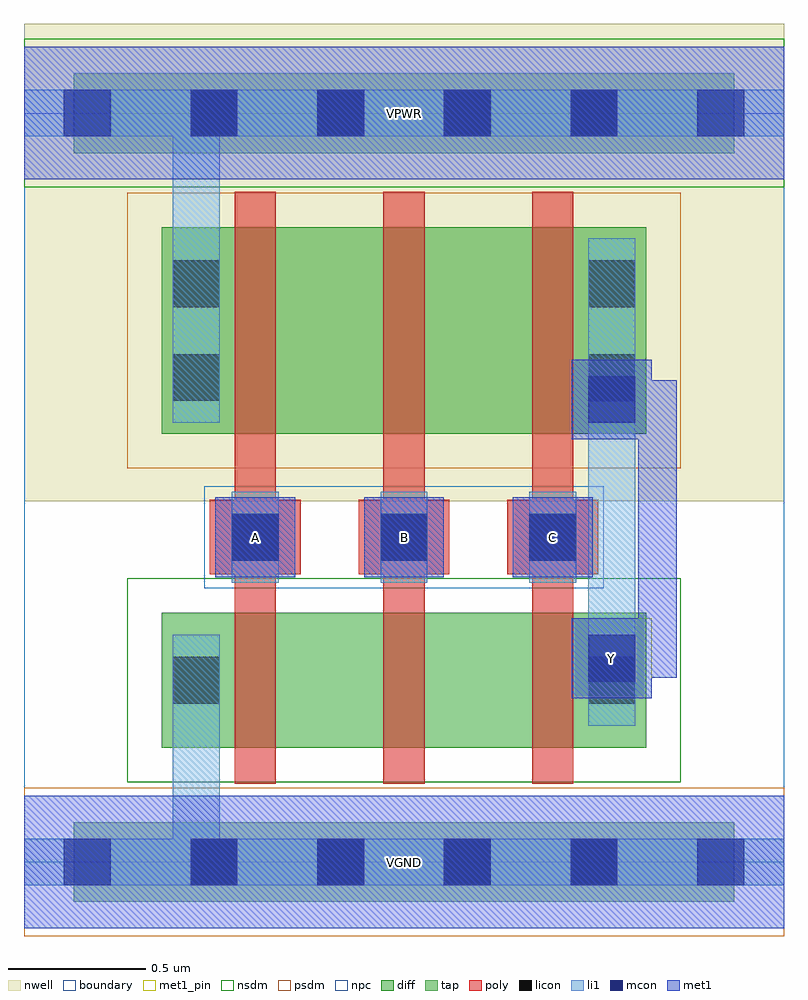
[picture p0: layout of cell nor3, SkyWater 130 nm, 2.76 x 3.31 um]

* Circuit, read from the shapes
.subckt nor3 A B C VGND VPWR Y
XM1 n1 A VGND VGND sky130_fd_pr__nfet_01v8 w=0.49 l=0.15
XM2 n2 B n1 VGND sky130_fd_pr__nfet_01v8 w=0.49 l=0.15
XM3 Y C n2 VGND sky130_fd_pr__nfet_01v8 w=0.49 l=0.15
XM4 n3 A VPWR VPWR sky130_fd_pr__pfet_01v8 w=0.75 l=0.15
XM5 n4 B n3 VPWR sky130_fd_pr__pfet_01v8 w=0.75 l=0.15
XM6 Y C n4 VPWR sky130_fd_pr__pfet_01v8 w=0.75 l=0.15
.ends

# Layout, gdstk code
import gdstk
lib = gdstk.Library(unit=1e-6, precision=1e-09)
def R(c, l, rs):  # rectangles x0, y0, x1, y1
    for r in rs: c.add(gdstk.rectangle(r[:2], r[2:], *l))
def A(c, l, x, y, w, h, nx, ny, dx, dy):  # array of equal rectangles
    R(c, l, [(x+i*dx, y+j*dy, x+i*dx+w, y+j*dy+h) for i in range(nx) for j in range(ny)])
nwell = (64, 20)
diff = (65, 20)
tap = (65, 44)
poly = (66, 20)
licon = (66, 44)
li1 = (67, 20)
mcon = (67, 44)
met1_pin = (68, 16)
met1 = (68, 20)
nsdm = (93, 44)
psdm = (94, 20)
npc = (95, 20)
boundary = (235, 4)

nor3 = lib.new_cell('nor3')
R(nor3, nwell, [(0,1.31,2.76,3.045)])
R(nor3, diff, [(0.5,0.415,2.26,0.905), (0.5,1.555,2.26,2.305)])
R(nor3, tap, [(0.18,-0.145,2.58,0.145), (0.18,2.575,2.58,2.865)])
A(nor3, poly, 0.765, 0.285, 0.15, 2.15, 3, 1, 0.54, 0)
A(nor3, poly, 0.675, 1.045, 0.33, 0.27, 3, 1, 0.54, 0)
A(nor3, licon, 0.605, -0.085, 0.17, 0.17, 4, 2, 0.46, 2.72)
A(nor3, licon, 0.755, 1.095, 0.17, 0.17, 3, 1, 0.54, 0)
R(nor3, licon, [(0.54,0.575,0.71,0.745), (2.05,0.575,2.22,0.745), (0.54,1.675,0.71,1.845), (2.05,1.675,2.22,1.845), (0.54,2.015,0.71,2.185), (2.05,2.015,2.22,2.185)])
A(nor3, li1, 0.755, 1.015, 0.17, 0.33, 3, 1, 0.54, 0)
R(nor3, li1, [(0,-0.085,2.76,0.085), (0.54,-0.085,0.71,0.825), (0.54,0.495,0.71,0.825), (2.05,0.495,2.22,0.825), (2.05,0.495,2.22,2.265), (0.54,1.595,0.71,2.265), (0.54,1.595,0.71,2.805), (2.05,1.595,2.22,2.265), (0,2.635,2.76,2.805)])
A(nor3, mcon, 0.145, -0.085, 0.17, 0.17, 6, 2, 0.46, 2.72)
A(nor3, mcon, 0.755, 1.095, 0.17, 0.17, 3, 1, 0.54, 0)
R(nor3, mcon, [(2.05,0.655,2.22,0.825), (2.05,1.595,2.22,1.765)])
A(nor3, met1_pin, 0.695, 1.035, 0.29, 0.29, 3, 1, 0.54, 0)
R(nor3, met1_pin, [(0,-0.24,2.76,0.24), (1.99,0.595,2.28,0.885), (0,2.48,2.76,2.96)])
A(nor3, met1, 0.695, 1.035, 0.29, 0.29, 3, 1, 0.54, 0)
R(nor3, met1, [(0,-0.24,2.76,0.24), (1.99,0.595,2.28,0.885), (2.065,0.67,2.37,0.81), (2.23,0.67,2.37,0.99), (2.23,0.85,2.37,1.565), (2.23,1.425,2.37,1.75), (1.99,1.535,2.28,1.825), (2.065,1.61,2.37,1.75), (0,2.48,2.76,2.96)])
R(nor3, nsdm, [(0.375,0.29,2.385,1.03), (0,2.45,2.76,2.99)])
R(nor3, psdm, [(0,-0.27,2.76,0.27), (0.375,1.43,2.385,2.43)])
R(nor3, npc, [(0.655,0.995,2.105,1.365)])
R(nor3, boundary, [(0,0,2.76,2.72)])
nor3.add(gdstk.Label('A', (0.84,1.18), layer=68, texttype=5))
nor3.add(gdstk.Label('B', (1.38,1.18), layer=68, texttype=5))
nor3.add(gdstk.Label('C', (1.92,1.18), layer=68, texttype=5))
nor3.add(gdstk.Label('Y', (2.135,0.74), layer=68, texttype=5))
nor3.add(gdstk.Label('VPWR', (1.38,2.72), layer=68, texttype=5))
nor3.add(gdstk.Label('VGND', (1.38,0), layer=68, texttype=5))
nor3.add(gdstk.Label('A', (0.84,1.18), layer=68, texttype=16))
nor3.add(gdstk.Label('B', (1.38,1.18), layer=68, texttype=16))
nor3.add(gdstk.Label('C', (1.92,1.18), layer=68, texttype=16))
nor3.add(gdstk.Label('Y', (2.135,0.74), layer=68, texttype=16))
nor3.add(gdstk.Label('VPWR', (1.38,2.72), layer=68, texttype=16))
nor3.add(gdstk.Label('VGND', (1.38,0), layer=68, texttype=16))

lib.write_gds('nor3.gds')
